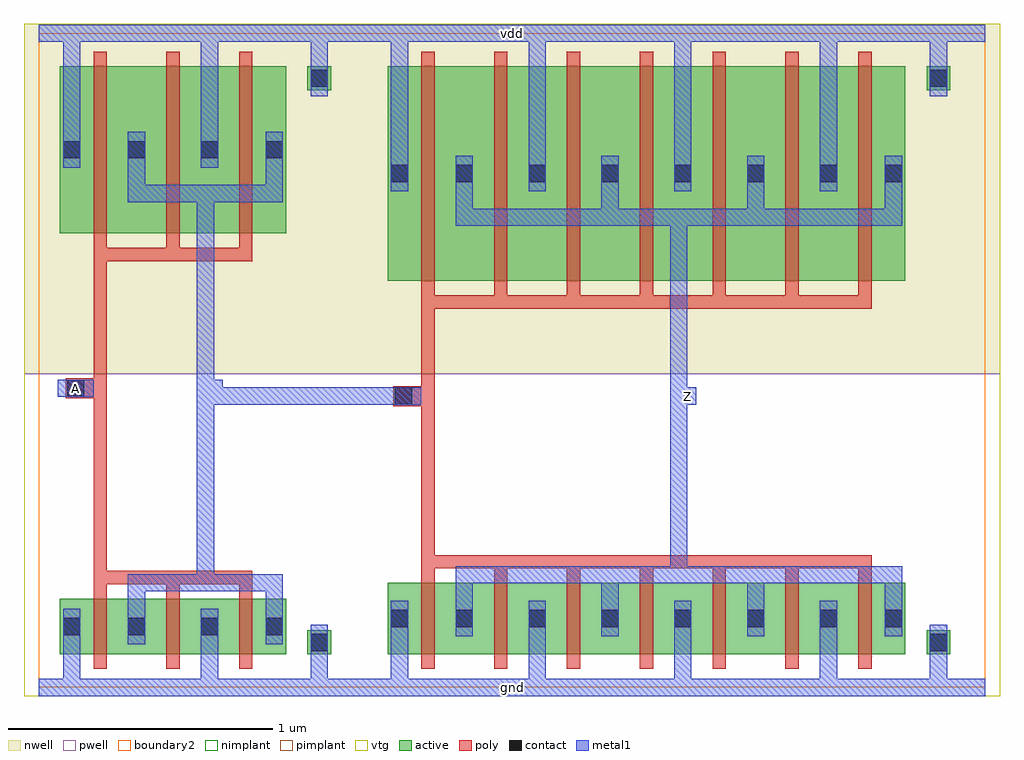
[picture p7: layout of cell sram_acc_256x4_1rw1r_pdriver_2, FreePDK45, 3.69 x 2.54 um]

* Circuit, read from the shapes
.subckt sram_acc_256x4_1rw1r_pdriver_2 A Z gnd vdd
M1 sram_acc_256x4_1rw1r_pinv_13_1/A A gnd gnd nfet w=0.21u l=0.05u m=3
M2 Z sram_acc_256x4_1rw1r_pinv_13_1/A gnd gnd nfet w=0.27u l=0.05u m=7
M3 sram_acc_256x4_1rw1r_pinv_13_1/A A vdd vdd pfet w=0.63u l=0.05u m=3
M4 Z sram_acc_256x4_1rw1r_pinv_13_1/A vdd vdd pfet w=0.81u l=0.05u m=7
.ends

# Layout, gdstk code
import gdstk
lib = gdstk.Library(unit=1e-6, precision=5e-10)
def R(c, l, rs):  # rectangles x0, y0, x1, y1
    for r in rs: c.add(gdstk.rectangle(r[:2], r[2:], *l))
def A(c, l, x, y, w, h, nx, ny, dx, dy):  # array of equal rectangles
    R(c, l, [(x+i*dx, y+j*dy, x+i*dx+w, y+j*dy+h) for i in range(nx) for j in range(ny)])
active = (1, 0)
pwell = (2, 0)
nwell = (3, 0)
nimplant = (4, 0)
pimplant = (5, 0)
vtg = (6, 0)
poly = (9, 0)
contact = (10, 0)
metal1 = (11, 0)
boundary2 = (239, 0)

sram_acc_256x4_1rw1r_con = lib.new_cell('sram_acc_256x4_1rw1r_contact_11')
R(sram_acc_256x4_1rw1r_con, active, [(0,0.0225,0.09,0.1125)])
R(sram_acc_256x4_1rw1r_con, nwell, [(-0.055,-0.0325,0.145,0.1675)])
R(sram_acc_256x4_1rw1r_con, pimplant, [(0,0.0225,0.09,0.1125)])
R(sram_acc_256x4_1rw1r_con, contact, [(0.0125,0.035,0.0775,0.1)])
R(sram_acc_256x4_1rw1r_con, metal1, [(0.0125,0,0.0775,0.135)])
R(sram_acc_256x4_1rw1r_con, boundary2, [(-0.055,-0.0325,0.145,0.1675)])

sram_acc_256x4_1rw1r_pmo = lib.new_cell('sram_acc_256x4_1rw1r_pmos_m3_w0_630_sm1_dm1_da_p')
R(sram_acc_256x4_1rw1r_pmo, active, [(0,0,0.855,0.63)])
R(sram_acc_256x4_1rw1r_pmo, nwell, [(-0.08,-0.08,0.935,0.71)])
R(sram_acc_256x4_1rw1r_pmo, pimplant, [(0,0,0.855,0.63)])
R(sram_acc_256x4_1rw1r_pmo, vtg, [(-0.08,-0.08,0.935,0.71)])
A(sram_acc_256x4_1rw1r_pmo, poly, 0.1275, -0.055, 0.05, 0.74, 3, 1, 0.275, 0)
R(sram_acc_256x4_1rw1r_pmo, poly, [(0.1275,-0.105,0.7275,-0.055)])
R(sram_acc_256x4_1rw1r_pmo, metal1, [(0.2575,0.1175,0.8425,0.1825), (0.2575,0.15,0.3225,0.315), (0.7775,0.15,0.8425,0.315), (0.0125,0.2475,0.0775,0.3825), (0.5325,0.2475,0.5975,0.3825)])
R(sram_acc_256x4_1rw1r_pmo, boundary2, [(-0.08,-0.105,0.935,0.71)])
sram_acc_256x4_1rw1r_pmo.add(gdstk.Reference(sram_acc_256x4_1rw1r_con, (0,0.2475)))
sram_acc_256x4_1rw1r_pmo.add(gdstk.Reference(sram_acc_256x4_1rw1r_con, (0.245,0.2475)))
sram_acc_256x4_1rw1r_pmo.add(gdstk.Reference(sram_acc_256x4_1rw1r_con, (0.52,0.2475)))
sram_acc_256x4_1rw1r_pmo.add(gdstk.Reference(sram_acc_256x4_1rw1r_con, (0.765,0.2475)))
sram_acc_256x4_1rw1r_pmo.add(gdstk.Label('G', (0.4275,-0.08), layer=9, texttype=0))
sram_acc_256x4_1rw1r_pmo.add(gdstk.Label('S', (0.045,0.315), layer=11, texttype=0))
sram_acc_256x4_1rw1r_pmo.add(gdstk.Label('S', (0.565,0.315), layer=11, texttype=0))
sram_acc_256x4_1rw1r_pmo.add(gdstk.Label('D', (0.55,0.15), layer=11, texttype=0))

c_sram_acc_256x4_1rw1r_con = lib.new_cell('sram_acc_256x4_1rw1r_contact_10')
R(c_sram_acc_256x4_1rw1r_con, active, [(0,0.0225,0.09,0.1125)])
R(c_sram_acc_256x4_1rw1r_con, pwell, [(-0.055,-0.0325,0.145,0.1675)])
R(c_sram_acc_256x4_1rw1r_con, nimplant, [(0,0.0225,0.09,0.1125)])
R(c_sram_acc_256x4_1rw1r_con, contact, [(0.0125,0.035,0.0775,0.1)])
R(c_sram_acc_256x4_1rw1r_con, metal1, [(0.0125,0,0.0775,0.135)])
R(c_sram_acc_256x4_1rw1r_con, boundary2, [(-0.055,-0.0325,0.145,0.1675)])

sram_acc_256x4_1rw1r_nmo = lib.new_cell('sram_acc_256x4_1rw1r_nmos_m3_w0_210_sm1_dm1_da_p')
R(sram_acc_256x4_1rw1r_nmo, active, [(0,0,0.855,0.21)])
R(sram_acc_256x4_1rw1r_nmo, pwell, [(-0.08,-0.08,0.935,0.29)])
R(sram_acc_256x4_1rw1r_nmo, nimplant, [(0,0,0.855,0.21)])
R(sram_acc_256x4_1rw1r_nmo, vtg, [(-0.08,-0.08,0.935,0.29)])
A(sram_acc_256x4_1rw1r_nmo, poly, 0.1275, -0.055, 0.05, 0.32, 3, 1, 0.275, 0)
R(sram_acc_256x4_1rw1r_nmo, poly, [(0.1275,0.265,0.7275,0.315)])
R(sram_acc_256x4_1rw1r_nmo, metal1, [(0.0125,0.0375,0.0775,0.1725), (0.5325,0.0375,0.5975,0.1725), (0.2575,0.105,0.3225,0.27), (0.7775,0.105,0.8425,0.27), (0.2575,0.2375,0.8425,0.3025)])
R(sram_acc_256x4_1rw1r_nmo, boundary2, [(-0.08,-0.08,0.935,0.315)])
sram_acc_256x4_1rw1r_nmo.add(gdstk.Reference(c_sram_acc_256x4_1rw1r_con, (0,0.0375)))
sram_acc_256x4_1rw1r_nmo.add(gdstk.Reference(c_sram_acc_256x4_1rw1r_con, (0.245,0.0375)))
sram_acc_256x4_1rw1r_nmo.add(gdstk.Reference(c_sram_acc_256x4_1rw1r_con, (0.52,0.0375)))
sram_acc_256x4_1rw1r_nmo.add(gdstk.Reference(c_sram_acc_256x4_1rw1r_con, (0.765,0.0375)))
sram_acc_256x4_1rw1r_nmo.add(gdstk.Label('G', (0.4275,0.29), layer=9, texttype=0))
sram_acc_256x4_1rw1r_nmo.add(gdstk.Label('S', (0.045,0.105), layer=11, texttype=0))
sram_acc_256x4_1rw1r_nmo.add(gdstk.Label('S', (0.565,0.105), layer=11, texttype=0))
sram_acc_256x4_1rw1r_nmo.add(gdstk.Label('D', (0.55,0.27), layer=11, texttype=0))

c_sram_acc_256x4_1rw1r_con_ = lib.new_cell('sram_acc_256x4_1rw1r_contact_12')
R(c_sram_acc_256x4_1rw1r_con_, active, [(0,0.0225,0.09,0.1125)])
R(c_sram_acc_256x4_1rw1r_con_, nwell, [(-0.055,-0.0325,0.145,0.1675)])
R(c_sram_acc_256x4_1rw1r_con_, nimplant, [(0,0.0225,0.09,0.1125)])
R(c_sram_acc_256x4_1rw1r_con_, contact, [(0.0125,0.035,0.0775,0.1)])
R(c_sram_acc_256x4_1rw1r_con_, metal1, [(0.0125,0,0.0775,0.135)])
R(c_sram_acc_256x4_1rw1r_con_, boundary2, [(-0.055,-0.0325,0.145,0.1675)])

c_sram_acc_256x4_1rw1r_con__ = lib.new_cell('sram_acc_256x4_1rw1r_contact_13')
R(c_sram_acc_256x4_1rw1r_con__, active, [(0,0.0225,0.09,0.1125)])
R(c_sram_acc_256x4_1rw1r_con__, pwell, [(-0.055,-0.0325,0.145,0.1675)])
R(c_sram_acc_256x4_1rw1r_con__, pimplant, [(0,0.0225,0.09,0.1125)])
R(c_sram_acc_256x4_1rw1r_con__, contact, [(0.0125,0.035,0.0775,0.1)])
R(c_sram_acc_256x4_1rw1r_con__, metal1, [(0.0125,0,0.0775,0.135)])
R(c_sram_acc_256x4_1rw1r_con__, boundary2, [(-0.055,-0.0325,0.145,0.1675)])

c_sram_acc_256x4_1rw1r_con___ = lib.new_cell('sram_acc_256x4_1rw1r_contact_14')
R(c_sram_acc_256x4_1rw1r_con___, poly, [(0.03,0,0.105,0.075)])
R(c_sram_acc_256x4_1rw1r_con___, contact, [(0.035,0.005,0.1,0.07)])
R(c_sram_acc_256x4_1rw1r_con___, metal1, [(0,0.005,0.135,0.07)])
R(c_sram_acc_256x4_1rw1r_con___, boundary2, [(0,0,0.135,0.075)])

sram_acc_256x4_1rw1r_pin = lib.new_cell('sram_acc_256x4_1rw1r_pinv_12')
R(sram_acc_256x4_1rw1r_pin, pwell, [(-0.055,-0.0325,1.2925,1.185)])
R(sram_acc_256x4_1rw1r_pin, nwell, [(-0.055,1.185,1.2925,2.505)])
R(sram_acc_256x4_1rw1r_pin, vtg, [(-0.055,-0.0325,1.2925,1.185), (-0.055,1.185,1.2925,2.505)])
R(sram_acc_256x4_1rw1r_pin, poly, [(0.2075,0.44,0.2575,1.61), (0.14,1.0925,0.2075,1.1675)])
R(sram_acc_256x4_1rw1r_pin, metal1, [(0,-0.0325,1.2375,0.0325), (0.0925,-0.0325,0.1575,0.1625), (0.6125,-0.0325,0.6775,0.1625), (1.0275,0,1.0925,0.17), (0.5975,0.3625,0.6625,1.8975), (0.0725,1.0975,0.2075,1.1625), (0.63,1.0975,0.695,1.1625), (0.0925,1.9625,0.1575,2.5025), (0.6125,1.9625,0.6775,2.5025), (1.0275,2.3,1.0925,2.47), (0,2.4375,1.2375,2.5025)])
R(sram_acc_256x4_1rw1r_pin, boundary2, [(0,0,1.2375,2.47), (0,0,1.2375,2.47)])
sram_acc_256x4_1rw1r_pin.add(gdstk.Reference(sram_acc_256x4_1rw1r_pmo, (0.08,1.715)))
sram_acc_256x4_1rw1r_pin.add(gdstk.Reference(sram_acc_256x4_1rw1r_nmo, (0.08,0.125)))
sram_acc_256x4_1rw1r_pin.add(gdstk.Reference(c_sram_acc_256x4_1rw1r_con_, (1.015,2.2325)))
sram_acc_256x4_1rw1r_pin.add(gdstk.Reference(c_sram_acc_256x4_1rw1r_con__, (1.015,0.1025)))
sram_acc_256x4_1rw1r_pin.add(gdstk.Reference(c_sram_acc_256x4_1rw1r_con___, (0.0725,1.0925)))
sram_acc_256x4_1rw1r_pin.add(gdstk.Label('A', (0.14,1.13), layer=11, texttype=0))
sram_acc_256x4_1rw1r_pin.add(gdstk.Label('Z', (0.6625,1.13), layer=11, texttype=0))
sram_acc_256x4_1rw1r_pin.add(gdstk.Label('gnd', (0.619,0), layer=11, texttype=0))
sram_acc_256x4_1rw1r_pin.add(gdstk.Label('vdd', (0.619,2.47), layer=11, texttype=0))

c_sram_acc_256x4_1rw1r_pmo = lib.new_cell('sram_acc_256x4_1rw1r_pmos_m7_w0_810_sm1_dm1_da_p')
R(c_sram_acc_256x4_1rw1r_pmo, active, [(0,0,1.955,0.81)])
R(c_sram_acc_256x4_1rw1r_pmo, nwell, [(-0.08,-0.08,2.035,0.89)])
R(c_sram_acc_256x4_1rw1r_pmo, pimplant, [(0,0,1.955,0.81)])
R(c_sram_acc_256x4_1rw1r_pmo, vtg, [(-0.08,-0.08,2.035,0.89)])
A(c_sram_acc_256x4_1rw1r_pmo, poly, 0.1275, -0.055, 0.05, 0.92, 7, 1, 0.275, 0)
R(c_sram_acc_256x4_1rw1r_pmo, poly, [(0.1275,-0.105,1.8275,-0.055)])
A(c_sram_acc_256x4_1rw1r_pmo, metal1, 0.2575, 0.24, 0.065, 0.165, 3, 1, 0.55, 0)
A(c_sram_acc_256x4_1rw1r_pmo, metal1, 0.5325, 0.3375, 0.065, 0.135, 3, 1, 0.55, 0)
R(c_sram_acc_256x4_1rw1r_pmo, metal1, [(0.2575,0.2075,1.9425,0.2725), (1.8775,0.24,1.9425,0.405), (0.0125,0.3375,0.0775,0.4725)])
R(c_sram_acc_256x4_1rw1r_pmo, boundary2, [(-0.08,-0.105,2.035,0.89)])
c_sram_acc_256x4_1rw1r_pmo.add(gdstk.Reference(sram_acc_256x4_1rw1r_con, (0,0.3375)))
c_sram_acc_256x4_1rw1r_pmo.add(gdstk.Reference(sram_acc_256x4_1rw1r_con, (0.245,0.3375)))
c_sram_acc_256x4_1rw1r_pmo.add(gdstk.Reference(sram_acc_256x4_1rw1r_con, (0.52,0.3375)))
c_sram_acc_256x4_1rw1r_pmo.add(gdstk.Reference(sram_acc_256x4_1rw1r_con, (0.795,0.3375)))
c_sram_acc_256x4_1rw1r_pmo.add(gdstk.Reference(sram_acc_256x4_1rw1r_con, (1.07,0.3375)))
c_sram_acc_256x4_1rw1r_pmo.add(gdstk.Reference(sram_acc_256x4_1rw1r_con, (1.345,0.3375)))
c_sram_acc_256x4_1rw1r_pmo.add(gdstk.Reference(sram_acc_256x4_1rw1r_con, (1.62,0.3375)))
c_sram_acc_256x4_1rw1r_pmo.add(gdstk.Reference(sram_acc_256x4_1rw1r_con, (1.865,0.3375)))
c_sram_acc_256x4_1rw1r_pmo.add(gdstk.Label('G', (0.9775,-0.08), layer=9, texttype=0))
c_sram_acc_256x4_1rw1r_pmo.add(gdstk.Label('S', (1.665,0.405), layer=11, texttype=0))
c_sram_acc_256x4_1rw1r_pmo.add(gdstk.Label('S', (0.565,0.405), layer=11, texttype=0))
c_sram_acc_256x4_1rw1r_pmo.add(gdstk.Label('S', (0.045,0.405), layer=11, texttype=0))
c_sram_acc_256x4_1rw1r_pmo.add(gdstk.Label('S', (1.115,0.405), layer=11, texttype=0))
c_sram_acc_256x4_1rw1r_pmo.add(gdstk.Label('D', (1.1,0.24), layer=11, texttype=0))

c_sram_acc_256x4_1rw1r_nmo = lib.new_cell('sram_acc_256x4_1rw1r_nmos_m7_w0_270_sm1_dm1_da_p')
R(c_sram_acc_256x4_1rw1r_nmo, active, [(0,0,1.955,0.27)])
R(c_sram_acc_256x4_1rw1r_nmo, pwell, [(-0.08,-0.08,2.035,0.35)])
R(c_sram_acc_256x4_1rw1r_nmo, nimplant, [(0,0,1.955,0.27)])
R(c_sram_acc_256x4_1rw1r_nmo, vtg, [(-0.08,-0.08,2.035,0.35)])
A(c_sram_acc_256x4_1rw1r_nmo, poly, 0.1275, -0.055, 0.05, 0.38, 7, 1, 0.275, 0)
R(c_sram_acc_256x4_1rw1r_nmo, poly, [(0.1275,0.325,1.8275,0.375)])
A(c_sram_acc_256x4_1rw1r_nmo, metal1, 0.5325, 0.0675, 0.065, 0.135, 3, 1, 0.55, 0)
A(c_sram_acc_256x4_1rw1r_nmo, metal1, 0.2575, 0.135, 0.065, 0.165, 3, 1, 0.55, 0)
R(c_sram_acc_256x4_1rw1r_nmo, metal1, [(0.0125,0.0675,0.0775,0.2025), (1.8775,0.135,1.9425,0.3), (0.2575,0.2675,1.9425,0.3325)])
R(c_sram_acc_256x4_1rw1r_nmo, boundary2, [(-0.08,-0.08,2.035,0.375)])
c_sram_acc_256x4_1rw1r_nmo.add(gdstk.Reference(c_sram_acc_256x4_1rw1r_con, (0,0.0675)))
c_sram_acc_256x4_1rw1r_nmo.add(gdstk.Reference(c_sram_acc_256x4_1rw1r_con, (0.245,0.0675)))
c_sram_acc_256x4_1rw1r_nmo.add(gdstk.Reference(c_sram_acc_256x4_1rw1r_con, (0.52,0.0675)))
c_sram_acc_256x4_1rw1r_nmo.add(gdstk.Reference(c_sram_acc_256x4_1rw1r_con, (0.795,0.0675)))
c_sram_acc_256x4_1rw1r_nmo.add(gdstk.Reference(c_sram_acc_256x4_1rw1r_con, (1.07,0.0675)))
c_sram_acc_256x4_1rw1r_nmo.add(gdstk.Reference(c_sram_acc_256x4_1rw1r_con, (1.345,0.0675)))
c_sram_acc_256x4_1rw1r_nmo.add(gdstk.Reference(c_sram_acc_256x4_1rw1r_con, (1.62,0.0675)))
c_sram_acc_256x4_1rw1r_nmo.add(gdstk.Reference(c_sram_acc_256x4_1rw1r_con, (1.865,0.0675)))
c_sram_acc_256x4_1rw1r_nmo.add(gdstk.Label('G', (0.9775,0.35), layer=9, texttype=0))
c_sram_acc_256x4_1rw1r_nmo.add(gdstk.Label('S', (0.045,0.135), layer=11, texttype=0))
c_sram_acc_256x4_1rw1r_nmo.add(gdstk.Label('S', (1.115,0.135), layer=11, texttype=0))
c_sram_acc_256x4_1rw1r_nmo.add(gdstk.Label('S', (0.565,0.135), layer=11, texttype=0))
c_sram_acc_256x4_1rw1r_nmo.add(gdstk.Label('S', (1.665,0.135), layer=11, texttype=0))
c_sram_acc_256x4_1rw1r_nmo.add(gdstk.Label('D', (1.1,0.3), layer=11, texttype=0))

c_sram_acc_256x4_1rw1r_pin = lib.new_cell('sram_acc_256x4_1rw1r_pinv_13')
R(c_sram_acc_256x4_1rw1r_pin, pwell, [(-0.055,-0.0325,2.3925,1.185)])
R(c_sram_acc_256x4_1rw1r_pin, nwell, [(-0.055,1.185,2.3925,2.505)])
R(c_sram_acc_256x4_1rw1r_pin, vtg, [(-0.055,-0.0325,2.3925,1.185), (-0.055,1.185,2.3925,2.505)])
R(c_sram_acc_256x4_1rw1r_pin, poly, [(0.2075,0.5,0.2575,1.43), (0.14,1.0625,0.2075,1.1375)])
A(c_sram_acc_256x4_1rw1r_pin, metal1, 0.6125, -0.0325, 0.065, 0.225, 3, 1, 0.55, 0)
A(c_sram_acc_256x4_1rw1r_pin, metal1, 0.6125, 1.8725, 0.065, 0.63, 3, 1, 0.55, 0)
R(c_sram_acc_256x4_1rw1r_pin, metal1, [(0,-0.0325,2.3375,0.0325), (0.0925,-0.0325,0.1575,0.1925), (2.1275,0,2.1925,0.17), (1.1475,0.3925,1.2125,1.8075), (0.0725,1.0675,0.2075,1.1325), (1.18,1.0675,1.245,1.1325), (0.0925,1.8725,0.1575,2.5025), (2.1275,2.3,2.1925,2.47), (0,2.4375,2.3375,2.5025)])
R(c_sram_acc_256x4_1rw1r_pin, boundary2, [(0,0,2.3375,2.47), (0,0,2.3375,2.47)])
c_sram_acc_256x4_1rw1r_pin.add(gdstk.Reference(c_sram_acc_256x4_1rw1r_pmo, (0.08,1.535)))
c_sram_acc_256x4_1rw1r_pin.add(gdstk.Reference(c_sram_acc_256x4_1rw1r_nmo, (0.08,0.125)))
c_sram_acc_256x4_1rw1r_pin.add(gdstk.Reference(c_sram_acc_256x4_1rw1r_con_, (2.115,2.2325)))
c_sram_acc_256x4_1rw1r_pin.add(gdstk.Reference(c_sram_acc_256x4_1rw1r_con__, (2.115,0.1025)))
c_sram_acc_256x4_1rw1r_pin.add(gdstk.Reference(c_sram_acc_256x4_1rw1r_con___, (0.0725,1.0625)))
c_sram_acc_256x4_1rw1r_pin.add(gdstk.Label('A', (0.14,1.1), layer=11, texttype=0))
c_sram_acc_256x4_1rw1r_pin.add(gdstk.Label('Z', (1.2125,1.1), layer=11, texttype=0))
c_sram_acc_256x4_1rw1r_pin.add(gdstk.Label('gnd', (1.169,0), layer=11, texttype=0))
c_sram_acc_256x4_1rw1r_pin.add(gdstk.Label('vdd', (1.169,2.47), layer=11, texttype=0))

sram_acc_256x4_1rw1r_pdr = lib.new_cell('sram_acc_256x4_1rw1r_pdriver_2')
R(sram_acc_256x4_1rw1r_pdr, pwell, [(-0.055,-0.0325,3.63,1.185)])
R(sram_acc_256x4_1rw1r_pdr, nwell, [(-0.055,1.185,3.63,2.505)])
R(sram_acc_256x4_1rw1r_pdr, vtg, [(-0.055,-0.0325,3.63,1.185), (-0.055,1.185,3.63,2.505)])
R(sram_acc_256x4_1rw1r_pdr, metal1, [(0,-0.0325,3.575,0.0325), (0.63,1.0675,0.695,1.1325), (0.6625,1.0675,1.3775,1.1325), (2.4175,1.0675,2.4825,1.1325), (0.0725,1.0975,0.2075,1.1625), (0.63,1.1,0.695,1.13), (0,2.4375,3.575,2.5025)])
R(sram_acc_256x4_1rw1r_pdr, boundary2, [(0,0,3.575,2.47), (0,0,3.575,2.47)])
sram_acc_256x4_1rw1r_pdr.add(gdstk.Reference(sram_acc_256x4_1rw1r_pin, (0,0)))
sram_acc_256x4_1rw1r_pdr.add(gdstk.Reference(c_sram_acc_256x4_1rw1r_pin, (1.2375,0)))
sram_acc_256x4_1rw1r_pdr.add(gdstk.Label('Z', (2.45,1.1), layer=11, texttype=0))
sram_acc_256x4_1rw1r_pdr.add(gdstk.Label('A', (0.14,1.13), layer=11, texttype=0))
sram_acc_256x4_1rw1r_pdr.add(gdstk.Label('gnd', (1.7875,0), layer=11, texttype=0))
sram_acc_256x4_1rw1r_pdr.add(gdstk.Label('vdd', (1.7875,2.47), layer=11, texttype=0))

lib.write_gds('sram_acc_256x4_1rw1r_pdriver_2.gds')
